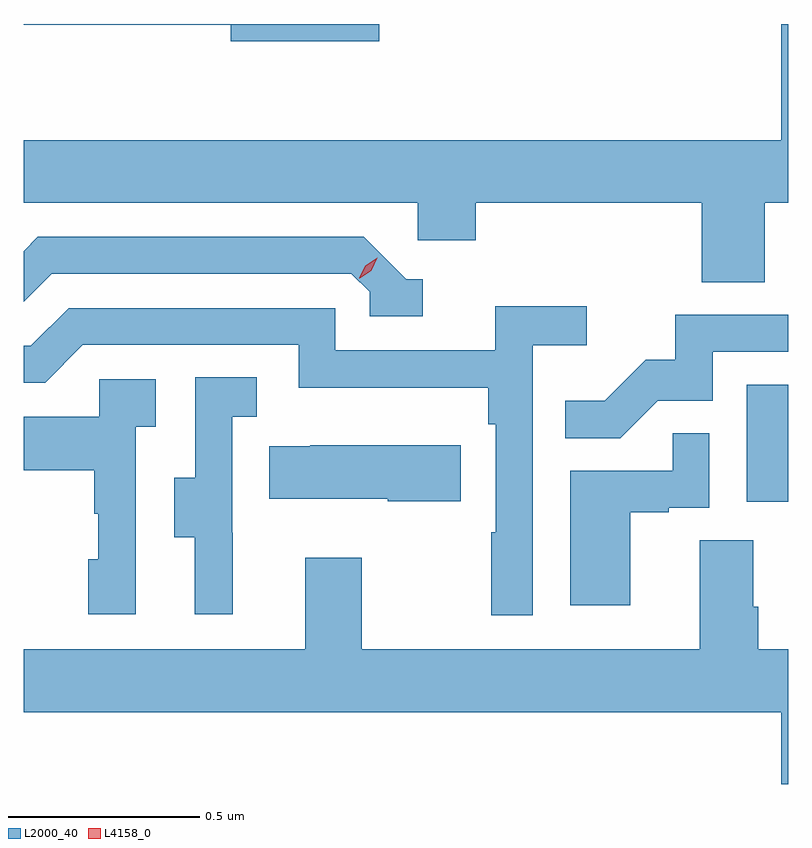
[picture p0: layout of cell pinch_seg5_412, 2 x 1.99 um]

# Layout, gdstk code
import gdstk
lib = gdstk.Library(unit=1e-6, precision=1e-09)
def R(c, l, rs):  # rectangles x0, y0, x1, y1
    for r in rs: c.add(gdstk.rectangle(r[:2], r[2:], *l))
def P(c, l, *ps):  # polygons
    for p in ps: c.add(gdstk.Polygon(p, *l))
L2000_40 = (2000, 40)
L4158_0 = (4158, 0)

pinch_seg5_412 = lib.new_cell('pinch_seg5_412')
R(pinch_seg5_412, L2000_40, [(956.126,865.302,956.235,865.609)])
P(pinch_seg5_412, L2000_40, [(956.174,866.084),(956.235,866.084),(956.235,866.552),(956.216,866.552),(956.216,866.248),(954.235,866.248),(954.235,866.084),(955.266,866.084),(955.266,865.986),(955.418,865.986),(955.418,866.084),(956.009,866.084),(956.009,865.876),(956.174,865.876)],
  [(955.165,866.552),(954.235,866.552),(954.235,866.55),(954.776,866.55),(954.776,866.507),(955.165,866.507)],
  [(955.279,865.884),(955.236,865.884),(955.125,865.995),(954.272,865.995),(954.235,865.958),(954.235,865.825),(954.309,865.899),(955.092,865.899),(955.14,865.851),(955.14,865.788),(955.279,865.788)],
  [(955.566,865.712),(955.708,865.712),(955.708,865.814),(955.469,865.814),(955.469,865.698),(955.05,865.698),(955.05,865.809),(954.353,865.809),(954.254,865.71),(954.235,865.71),(954.235,865.614),(954.291,865.614),(954.39,865.713),(954.954,865.713),(954.954,865.601),(955.45,865.601),(955.45,865.505),(955.47,865.505),(955.47,865.223),(955.458,865.223),(955.458,865.005),(955.566,865.005)],
  [(955.893,865.566),(956.037,865.566),(956.037,865.695),(956.235,865.695),(956.235,865.791),(955.939,865.791),(955.939,865.674),(955.862,865.674),(955.755,865.567),(955.651,865.567),(955.651,865.468),(955.795,865.468)],
  [(954.782,865.221),(954.78,865.221),(954.78,865.525),(954.844,865.525),(954.844,865.628),(954.684,865.628),(954.684,865.365),(954.629,865.365),(954.629,865.21),(954.683,865.21),(954.683,865.008),(954.782,865.008)],
  [(954.528,865.499),(954.58,865.499),(954.58,865.623),(954.432,865.623),(954.432,865.525),(954.235,865.525),(954.235,865.385),(954.42,865.385),(954.42,865.271),(954.43,865.271),(954.43,865.152),(954.404,865.152),(954.404,865.008),(954.528,865.008)],
  [(955.822,865.275),(955.922,865.275),(955.922,865.287),(956.028,865.287),(956.028,865.481),(955.933,865.481),(955.933,865.383),(955.664,865.383),(955.664,865.032),(955.822,865.032)],
  [(955.378,865.45),(954.985,865.45),(954.985,865.447),(954.877,865.447),(954.877,865.31),(955.187,865.31),(955.187,865.303),(955.378,865.303)],
  [(956.235,864.916),(956.156,864.916),(956.156,865.028),(956.143,865.028),(956.143,865.202),(956.003,865.202),(956.003,864.916),(955.119,864.916),(955.119,865.156),(954.971,865.156),(954.971,864.916),(954.235,864.916),(954.235,864.752),(956.216,864.752),(956.216,864.564),(956.235,864.564)])
P(pinch_seg5_412, L4158_0, [(955.113,865.887),(955.113,865.887),(955.129,865.92),(955.16,865.94),(955.16,865.94),(955.16,865.94),(955.144,865.907),(955.114,865.887)])

lib.write_gds('pinch_seg5_412.gds')
